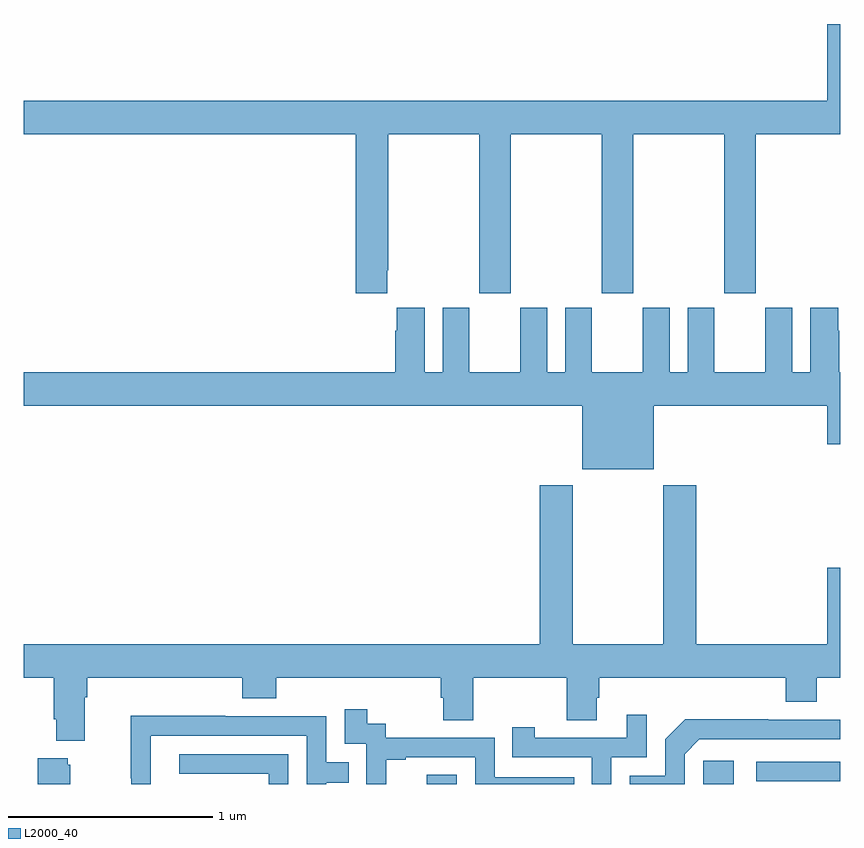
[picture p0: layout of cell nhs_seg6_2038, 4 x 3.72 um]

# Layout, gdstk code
import gdstk
lib = gdstk.Library(unit=1e-6, precision=1e-09)
def R(c, l, rs):  # rectangles x0, y0, x1, y1
    for r in rs: c.add(gdstk.rectangle(r[:2], r[2:], *l))
def P(c, l, *ps):  # polygons
    for p in ps: c.add(gdstk.Polygon(p, *l))
L2000_40 = (2000, 40)

nhs_seg6_2038 = lib.new_cell('nhs_seg6_2038')
R(nhs_seg6_2038, L2000_40, [(234.975,929.5,235.122,929.545), (236.328,929.5,236.479,929.614), (236.589,929.514,237,929.61)])
P(nhs_seg6_2038, L2000_40, [(234.781,932.017),(234.786,932.017),(234.786,932.684),(235.231,932.684),(235.231,931.905),(235.386,931.905),(235.386,932.684),(235.831,932.684),(235.831,931.905),(235.986,931.905),(235.986,932.684),(236.431,932.684),(236.431,931.905),(236.586,931.905),(236.586,932.684),(237,932.684),(237,933.223),(236.936,933.223),(236.936,932.848),(233,932.848),(233,932.684),(234.626,932.684),(234.626,931.905),(234.781,931.905)],
  [(236.086,931.352),(236.936,931.352),(236.936,931.164),(237,931.164),(237,931.516),(236.996,931.516),(236.996,931.721),(236.989,931.721),(236.989,931.834),(236.852,931.834),(236.852,931.516),(236.764,931.516),(236.764,931.834),(236.633,931.834),(236.633,931.516),(236.383,931.516),(236.383,931.834),(236.252,931.834),(236.252,931.516),(236.164,931.516),(236.164,931.834),(236.033,931.834),(236.033,931.516),(235.783,931.516),(235.783,931.834),(235.652,931.834),(235.652,931.516),(235.564,931.516),(235.564,931.834),(235.433,931.834),(235.433,931.516),(235.183,931.516),(235.183,931.834),(235.052,931.834),(235.052,931.516),(234.964,931.516),(234.964,931.834),(234.827,931.834),(234.827,931.721),(234.821,931.721),(234.821,931.516),(233,931.516),(233,931.352),(235.736,931.352),(235.736,931.043),(236.086,931.043)],
  [(233.299,929.924),(233.312,929.924),(233.312,930.02),(234.071,930.02),(234.071,929.921),(234.236,929.921),(234.236,930.02),(235.043,930.02),(235.043,929.922),(235.055,929.922),(235.055,929.812),(235.203,929.812),(235.203,930.02),(235.66,930.02),(235.66,929.812),(235.807,929.812),(235.807,929.922),(235.82,929.922),(235.82,930.02),(236.732,930.02),(236.732,929.903),(236.884,929.903),(236.884,930.02),(237,930.02),(237,930.559),(236.936,930.559),(236.936,930.184),(236.294,930.184),(236.294,930.964),(236.134,930.964),(236.134,930.184),(235.689,930.184),(235.689,930.964),(235.529,930.964),(235.529,930.184),(233,930.184),(233,930.02),(233.147,930.02),(233.147,929.818),(233.159,929.818),(233.159,929.711),(233.299,929.711)],
  [(234.776,929.619),(234.871,929.619),(234.871,929.631),(235.212,929.631),(235.212,929.5),(235.697,929.5),(235.697,929.532),(235.308,929.532),(235.308,929.727),(234.774,929.727),(234.774,929.796),(234.682,929.796),(234.682,929.866),(234.573,929.866),(234.573,929.697),(234.678,929.697),(234.678,929.5),(234.776,929.5)],
  [(235.878,929.631),(236.052,929.631),(236.052,929.839),(235.955,929.839),(235.955,929.727),(235.504,929.727),(235.504,929.779),(235.393,929.779),(235.393,929.631),(235.782,929.631),(235.782,929.5),(235.878,929.5)],
  [(233.622,929.736),(234.387,929.736),(234.387,929.5),(234.483,929.5),(234.483,929.506),(234.593,929.506),(234.593,929.607),(234.483,929.607),(234.483,929.832),(233.987,929.832),(233.987,929.834),(233.524,929.834),(233.524,929.527),(233.526,929.527),(233.526,929.5),(233.622,929.5)],
  [(236.238,929.646),(236.31,929.718),(237,929.718),(237,929.814),(236.648,929.814),(236.648,929.816),(236.24,929.816),(236.142,929.718),(236.142,929.541),(235.968,929.541),(235.968,929.5),(236.238,929.5)],
  [(234.297,929.646),(233.763,929.646),(233.763,929.55),(234.201,929.55),(234.201,929.5),(234.297,929.5)],
  [(233.227,929.595),(233.216,929.595),(233.216,929.626),(233.069,929.626),(233.069,929.5),(233.227,929.5)])

lib.write_gds('nhs_seg6_2038.gds')
